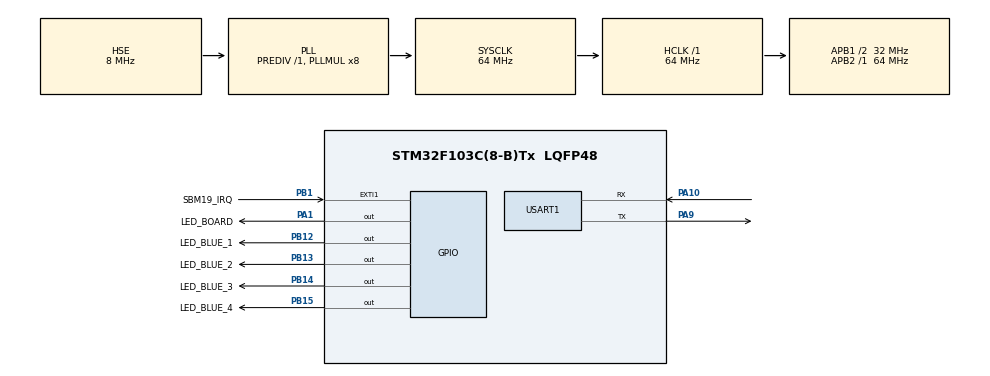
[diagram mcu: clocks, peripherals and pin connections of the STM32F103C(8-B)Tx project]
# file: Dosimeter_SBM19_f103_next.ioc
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Mcu.Family=STM32F1
Mcu.Name=STM32F103C(8-B)Tx
Mcu.Package=LQFP48
NVIC.EXTI1_IRQn=true\:0\:0\:false\:false\:true\:true\:true
NVIC.PriorityGroup=NVIC_PRIORITYGROUP_4
NVIC.TIM3_IRQn=true\:0\:0\:false\:false\:true\:true\:true
PA1.GPIO_Label=LED_BOARD
PA1.Signal=GPIO_Output
PA10.Mode=Asynchronous
PA10.Signal=USART1_RX
PA13.Mode=Serial_Wire
PA13.Signal=SYS_JTMS-SWDIO
PA14.Mode=Serial_Wire
PA14.Signal=SYS_JTCK-SWCLK
PA9.Mode=Asynchronous
PA9.Signal=USART1_TX
PB1.GPIO_Label=SBM19_IRQ
PB1.GPIO_ModeDefaultEXTI=GPIO_MODE_IT_FALLING
PB1.GPIO_PuPd=GPIO_PULLUP
PB1.Signal=GPXTI1
PB12.GPIO_Label=LED_BLUE_1
PB12.Signal=GPIO_Output
PB13.GPIO_Label=LED_BLUE_2
PB13.Signal=GPIO_Output
PB14.GPIO_Label=LED_BLUE_3
PB14.Signal=GPIO_Output
PB15.GPIO_Label=LED_BLUE_4
PB15.Signal=GPIO_Output
PD0-OSC_IN.Mode=HSE-External-Oscillator
PD0-OSC_IN.Signal=RCC_OSC_IN
PD1-OSC_OUT.Mode=HSE-External-Oscillator
PD1-OSC_OUT.Signal=RCC_OSC_OUT
ProjectManager.HeapSize=0x200
ProjectManager.StackSize=0x400
ProjectManager.TargetToolchain=STM32CubeIDE
RCC.AHBFreq_Value=64000000
RCC.APB1CLKDivider=RCC_HCLK_DIV2
RCC.APB1Freq_Value=32000000
RCC.APB1TimFreq_Value=64000000
RCC.APB2Freq_Value=64000000
RCC.APB2TimFreq_Value=64000000
RCC.HCLKFreq_Value=64000000
RCC.PLLMUL=RCC_PLL_MUL8
RCC.PLLSourceVirtual=RCC_PLLSOURCE_HSE
RCC.SYSCLKFreq_VALUE=64000000
RCC.SYSCLKSource=RCC_SYSCLKSOURCE_PLLCLK
RCC.USBFreq_Value=64000000
TIM3.Period=60000-1
TIM3.Prescaler=64000-1
TIM4.Period=10000-1
TIM4.Prescaler=64000-1
USART1.VirtualMode=VM_ASYNC
VP_TIM3_VS_ClockSourceINT.Mode=Internal
VP_TIM4_VS_ClockSourceINT.Mode=Internal
board=custom

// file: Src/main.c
/* USER CODE BEGIN Header */
/**
  ******************************************************************************
  * @file           : main.c
  * @brief          : Main program body
  ******************************************************************************
  * @attention
  *
  * <h2><center>&copy; Copyright (c) 2020 STMicroelectronics.
  * All rights reserved.</center></h2>
  *
  * This software component is licensed by ST under BSD 3-Clause license,
  * the "License"; You may not use this file except in compliance with the
  * License. You may obtain a copy of the License at:
  *                        opensource.org/licenses/BSD-3-Clause
  *
  ******************************************************************************
  */
/* USER CODE END Header */
#include "main.h"
#include "tim.h"
#include "usart.h"
#include "gpio.h"

/* USER CODE BEGIN Includes */

	#include <string.h>
	#include <stdio.h>
	#include "tm1637_sm.h"
	#include "dosimeter_sbm19_next_sm.h"

/* USER CODE END Includes */

void SystemClock_Config(void);

int main(void)
{

  /* MCU Configuration--------------------------------------------------------*/

  /* Reset of all peripherals, Initializes the Flash interface and the Systick. */
  HAL_Init();

  /* Configure the system clock */
  SystemClock_Config();

  /* Initialize all configured peripherals */
  MX_GPIO_Init();
  MX_USART1_UART_Init();
  MX_TIM3_Init();
  MX_TIM4_Init();
  /* USER CODE BEGIN 2 */

	Dozimeter_Init(&huart1);

  	tm1637_struct h1_tm1637 = {
  		 .clk_pin  = GPIO_PIN_4,
  		 .clk_port = GPIOB,
  		 .dio_pin  = GPIO_PIN_5,
  		 .dio_port = GPIOB
  	  };
  	  __HAL_RCC_GPIOB_CLK_ENABLE();
  	  tm1637_Init(&h1_tm1637);
  	  tm1637_Set_Brightness ( &h1_tm1637, bright_45percent);

  /* USER CODE END 2 */

  /* Infinite loop */
  /* USER CODE BEGIN WHILE */
  while (1)
  {
	  	  Dozimeter_Main(&huart1, &h1_tm1637);

    /* USER CODE END WHILE */

  }
}

void SystemClock_Config(void)
{
  RCC_OscInitTypeDef RCC_OscInitStruct = {0};
  RCC_ClkInitTypeDef RCC_ClkInitStruct = {0};

  /** Initializes the RCC Oscillators according to the specified parameters
  * in the RCC_OscInitTypeDef structure.
  */
  RCC_OscInitStruct.OscillatorType = RCC_OSCILLATORTYPE_HSE;
  RCC_OscInitStruct.HSEState = RCC_HSE_ON;
  RCC_OscInitStruct.HSEPredivValue = RCC_HSE_PREDIV_DIV1;
  RCC_OscInitStruct.HSIState = RCC_HSI_ON;
  RCC_OscInitStruct.PLL.PLLState = RCC_PLL_ON;
  RCC_OscInitStruct.PLL.PLLSource = RCC_PLLSOURCE_HSE;
  RCC_OscInitStruct.PLL.PLLMUL = RCC_PLL_MUL8;
  if (HAL_RCC_OscConfig(&RCC_OscInitStruct) != HAL_OK)
  {
    Error_Handler();
  }
  /** Initializes the CPU, AHB and APB buses clocks
  */
  RCC_ClkInitStruct.ClockType = RCC_CLOCKTYPE_HCLK|RCC_CLOCKTYPE_SYSCLK
                              |RCC_CLOCKTYPE_PCLK1|RCC_CLOCKTYPE_PCLK2;
  RCC_ClkInitStruct.SYSCLKSource = RCC_SYSCLKSOURCE_PLLCLK;
  RCC_ClkInitStruct.AHBCLKDivider = RCC_SYSCLK_DIV1;
  RCC_ClkInitStruct.APB1CLKDivider = RCC_HCLK_DIV2;
  RCC_ClkInitStruct.APB2CLKDivider = RCC_HCLK_DIV1;

  if (HAL_RCC_ClockConfig(&RCC_ClkInitStruct, FLASH_LATENCY_2) != HAL_OK)
  {
    Error_Handler();
  }
}

void Error_Handler(void)
{
}
